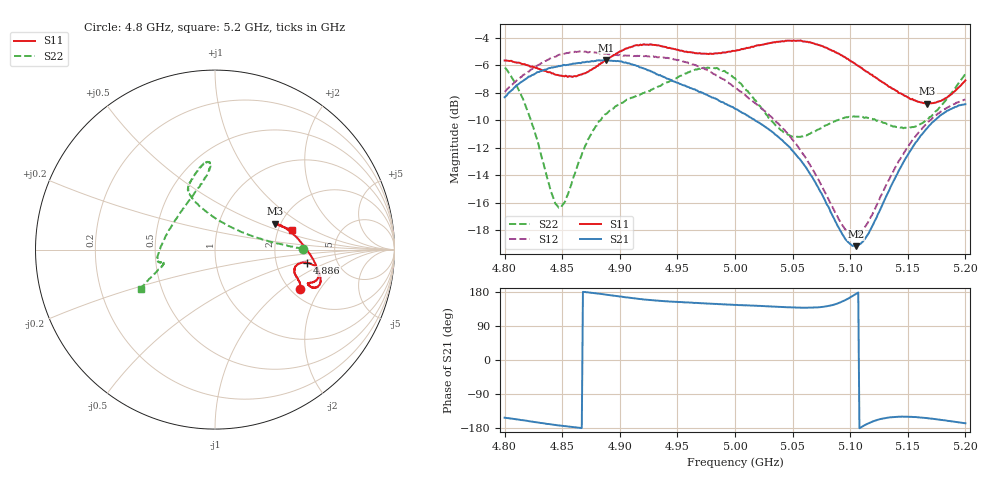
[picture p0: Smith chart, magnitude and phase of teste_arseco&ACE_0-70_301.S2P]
! Network Analyzer HP8722D
! Hewlett-Packard
! Data name: Linha & Wilkinson
! Saver's name: Rodrigo Anjos
! Comments: Teste da utilização de aquisição
! continua pelo VNA HP8722D
! Time and date: 8/5/2025 15:16
!  Frequency  S11  S21  S12  S22
# HZ  S  MA R 50
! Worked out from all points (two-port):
!   401 points, 4.8 GHz to 5.2 GHz, reference 50 ohm
!   highest |S21| = -5.61 dB at 4.888 GHz (marker M1); lowest = -19.2 dB at 5.105 GHz (marker M2)
!   |S21| within 3 dB of the highest: start of sweep to 4.987 GHz
!   lowest |S11| = -8.8 dB at 5.167 GHz (marker M3), VSWR 2.14, Z = 93.4 + j31 ohm
!   |S11| at or under -10 dB: nowhere
!   |S22| runs from -16.4 to -6.2 dB; largest |S21 - S12| = 1.1
!   S11 on the Smith chart (normalised r, x): 4.8 GHz: 2.23, -1.35; 4.886 GHz: 3.01, -0.61; 5.2 GHz: 2.36, +0.65
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4.8e9  0.5211 -25.0  0.3831 -152.3  0.401 7.0  0.4904 0.5
4.818e9  0.5036 -20.8  0.4453 -160.1  0.4673 4.2  0.3585 5.2
4.841e9  0.4674 -17.3  0.4922 -170.2  0.5328 0.8  0.1707 37.7
4.846e9  0.4618 -16.3  0.4951 -172.2  0.5438 -0.2  0.1539 55.6
4.853e9  0.4591 -14.3  0.5011 -174.7  0.5533 -1.3  0.1614 80.6
4.867e9  0.4635 -10.6  0.512 -179.6  0.562 -3.5  0.2372 106.6
4.886e9  0.5177 -8.3  0.5219 173.5  0.5519 -4.6  0.3272 114.3
4.888e9  0.5233 -8.1  0.524 172.5  0.5515 -4.5  0.333 114.6
4.913e9  0.5901 -12.3  0.5014 162.5  0.5414 -3.5  0.3849 112.5
4.934e9  0.591 -16.9  0.4602 156.3  0.536 -4.3  0.4202 107.1
4.971e9  0.5516 -20.0  0.3982 149.8  0.4895 -7.4  0.4884 95.8
5e9  0.5647 -20.9  0.3478 145.5  0.416 -7.5  0.4494 94.2
5.042e9  0.6117 -19.2  0.2646 139.8  0.2936 0.2  0.2861 129.5
5.067e9  0.6036 -14.3  0.1966 138.3  0.2115 8.5  0.2854 165.2
5.094e9  0.539 -4.3  0.1202 155.6  0.1299 35.2  0.3215 -173.3
5.105e9  0.5039 0.9  0.1101 174.4  0.1206 56.8  0.3255 -169.8
5.115e9  0.4731 6.4  0.1209 -168.4  0.1333 75.5  0.3224 -167.7
5.134e9  0.4176 15.7  0.1762 -151.4  0.1931 94.1  0.3032 -166.4
5.153e9  0.3763 22.1  0.2471 -149.9  0.2637 98.6  0.2977 -164.3
5.167e9  0.3633 23.4  0.2964 -153.6  0.3092 99.2  0.3183 -161.7
5.182e9  0.3783 21.1  0.3372 -159.2  0.3465 99.1  0.3694 -158.0
5.2e9  0.4412 14.6  0.3612 -166.9  0.3762 99.7  0.4657 -152.2
